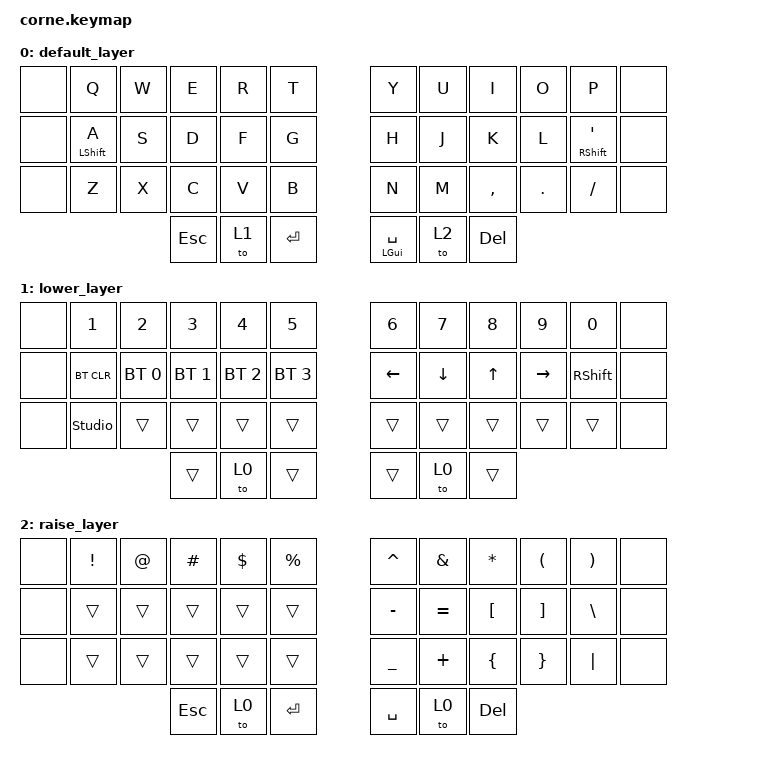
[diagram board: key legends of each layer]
// #include "../../../corne.keymap"

/*
 * Copyright (c) 2020 The ZMK Contributors
 *
 * SPDX-License-Identifier: MIT
 */

#include <behaviors.dtsi>
#include <dt-bindings/zmk/keys.h>
#include <dt-bindings/zmk/bt.h>

/ {
        keymap {
                compatible = "zmk,keymap";

                default_layer {
// -----------------------------------------------------------------------------------------
// | none |  Q  |  W  |  E  |  R  |  T  |   |  Y  |  U   |  I  |  O  |  P  | none |
// | none |  A  |  S  |  D  |  F  |  G  |   |  H  |  J   |  K  |  L  |  '  | none |
// | none |  Z  |  X  |  C  |  V  |  B  |   |  N  |  M   |  ,  |  .  |  /  | none |
//                    | ESC | LWR | ent |   | spc | RSE  | DEL |
                        bindings = <
   &none &kp Q &kp W &kp E &kp R &kp T   &kp Y &kp U  &kp I     &kp O   &kp P    &none
   &none &mt LSHIFT A &kp S &kp D &kp F &kp G   &kp H &kp J  &kp K     &kp L   &mt RSHIFT APOSTROPHE &none
   &none &kp Z &kp X &kp C &kp V &kp B   &kp N &kp M  &kp COMMA &kp DOT &kp FSLH &none
                  &kp ESC &to 1 &kp RET &mt LGUI SPACE &to 2 &kp DEL
                        >;
                };
                lower_layer {
// -----------------------------------------------------------------------------------------
// | NONE |  1  |  2  |  3  |  4  |  5  |   |  6  |  7  |  8  |  9  |  0  | None |
// | None | BT1 | BT2 | BT3 | BT4 | BT5 |   | LFT | DWN |  UP | RGT |     | None |
// | None |     |     |     |     |     |   |     |     |     |     |     | None |
//                    | GUI |     | SPC |   | ENT |     | ALT |
                        bindings = <
   &none &kp N1     &kp N2       &kp N3       &kp N4       &kp N5         &kp N6   &kp N7   &kp N8 &kp N9    &kp N0 &none
   &none &bt BT_CLR &bt BT_SEL 0 &bt BT_SEL 1 &bt BT_SEL 2 &bt BT_SEL 3   &kp LEFT &kp DOWN &kp UP &kp RIGHT &kp RSHIFT &none
   &none &studio_unlock     &trans       &trans       &trans       &trans         &trans   &trans   &trans &trans    &trans &none
                                 &trans       &to 0       &trans         &trans   &to 0   &trans
                        >;
                };

                raise_layer {
// -----------------------------------------------------------------------------------------
// | None |  !  |  @  |  #  |  $  |  %  |   |  ^  |  &  |  *  |  (  |  )  | None |
// | None |     |     |     |     |     |   |  -  |  =  |  [  |  ]  |  \  | None |
// | None |     |     |     |     |     |   |  _  |  +  |  {  |  }  | "|" | None |
//                    | GUI |     | SPC |   | ENT |     | ALT |
                        bindings = <
   &none  &kp EXCL &kp AT &kp HASH &kp DLLR &kp PRCNT   &kp CARET &kp AMPS  &kp ASTRK &kp LPAR &kp RPAR &none
   &none &trans   &trans &trans   &trans   &trans      &kp MINUS &kp EQUAL &kp LBKT  &kp RBKT &kp BSLH  &none
   &none &trans   &trans &trans   &trans   &trans      &kp UNDER &kp PLUS  &kp LBRC  &kp RBRC &kp PIPE  &none
                             &kp ESC &to 0   &kp RET   &kp SPACE   &to 0    &kp DEL
                        >;
                };
        };
};
